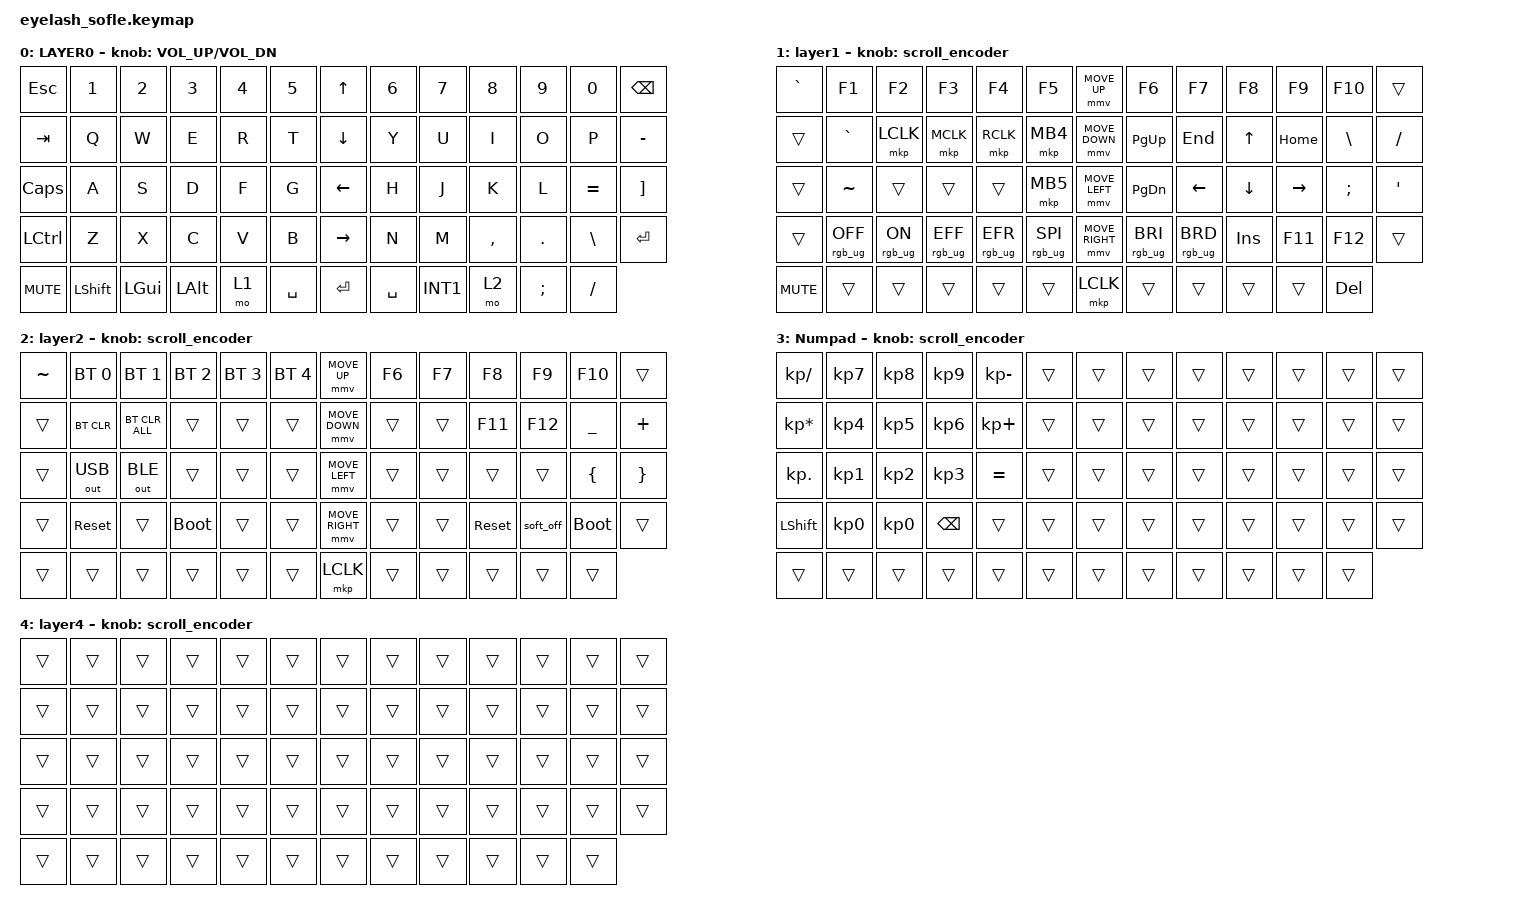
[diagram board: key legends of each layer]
#define ZMK_POINTING_DEFAULT_MOVE_VAL 1200  // 600
#define ZMK_POINTING_DEFAULT_SCRL_VAL 25   // 10

#include <input/processors.dtsi>
#include <zephyr/dt-bindings/input/input-event-codes.h>
#include <behaviors.dtsi>
#include <dt-bindings/zmk/bt.h>
#include <dt-bindings/zmk/keys.h>
#include <dt-bindings/zmk/outputs.h>
#include <dt-bindings/zmk/pointing.h>
#include <dt-bindings/zmk/rgb.h>

&mmv_input_listener { input-processors = <&zip_xy_scaler 2 1>; };

&msc_input_listener { input-processors = <&zip_scroll_scaler 2 1>; };

&msc {
    acceleration-exponent = <1>;      // 0
    time-to-max-speed-ms = <100>;       // 300
    delay-ms = <0>;                   // 0
};

&mmv {
    time-to-max-speed-ms = <500>;
    acceleration-exponent = <1>;
    trigger-period-ms = <16>;
};

&soft_off { hold-time-ms = <2000>; };

/ {
    scroll_encoder: scroll_encoder {
        compatible = "zmk,behavior-sensor-rotate";
        #sensor-binding-cells = <0>;
        bindings = <&msc SCRL_DOWN>, <&msc SCRL_UP>;

        tap-ms = <100>;
    };

    behaviors {
    };

    combos {
        compatible = "zmk,combos";

        softoff {
            bindings = <&soft_off>;
            key-positions = <14 28 40>;
        };
    };

    macros {
        SHIFT_MCLK: SHIFT_MCLK {
            compatible = "zmk,behavior-macro";
            #binding-cells = <0>;
            bindings =
                <&macro_press>,
                <&kp LEFT_SHIFT>,
                <&macro_press>,
                <&mkp MB3>,
                <&macro_pause_for_release>,
                <&macro_release>,
                <&kp LEFT_SHIFT &mkp MB3>;

            label = "SHIFT_MCLK";
        };
    };

    keymap {
        compatible = "zmk,keymap";

        layer0 {
            bindings = <
&kp ESC     &kp N1     &kp N2        &kp N3        &kp N4  &kp N5       &kp UP_ARROW     &kp N6     &kp N7     &kp N8     &kp N9           &kp N0      &kp BACKSPACE
&kp TAB     &kp Q      &kp W         &kp E         &kp R   &kp T        &kp DOWN_ARROW   &kp Y      &kp U      &kp I      &kp O            &kp P       &kp MINUS
&kp CAPS    &kp A      &kp S         &kp D         &kp F   &kp G        &kp LEFT_ARROW   &kp H      &kp J      &kp K      &kp L            &kp EQUAL   &kp RBKT
&kp LCTRL   &kp Z      &kp X         &kp C         &kp V   &kp B        &kp RIGHT_ARROW  &kp N      &kp M      &kp COMMA  &kp DOT          &kp BSLH    &kp ENTER
&kp C_MUTE  &kp LSHFT  &kp LEFT_GUI  &kp LEFT_ALT  &mo 1   &kp SPACE    &kp ENTER        &kp SPACE  &kp INT1   &mo 2      &kp SEMI         &kp FSLH
            >;

            sensor-bindings = <&inc_dec_kp C_VOLUME_UP C_VOL_DN>;
            display-name = "LAYER0";
        };

        layer_1 {
            bindings = <
&kp GRAVE   &kp F1           &kp F2          &kp F3           &kp F4           &kp F5             &mmv MOVE_UP     &kp F6           &kp F7           &kp F8      &kp F9     &kp F10           &trans
&trans      &kp GRAVE        &mkp LCLK       &mkp MCLK        &mkp RCLK        &mkp MB4           &mmv MOVE_DOWN   &kp PG_UP        &kp END          &kp UP      &kp HOME   &kp BSLH          &kp FSLH
&trans      &kp TILDE        &trans          &trans           &trans           &mkp MB5           &mmv MOVE_LEFT   &kp PG_DN        &kp LEFT         &kp DOWN    &kp RIGHT  &kp SEMI          &kp APOS
&trans      &rgb_ug RGB_OFF  &rgb_ug RGB_ON  &rgb_ug RGB_EFF  &rgb_ug RGB_EFR  &rgb_ug RGB_SPI    &mmv MOVE_RIGHT  &rgb_ug RGB_BRI  &rgb_ug RGB_BRD  &kp INSERT  &kp F11    &kp F12           &trans
&kp C_MUTE  &trans           &trans          &trans           &trans           &trans             &mkp LCLK        &trans           &trans           &trans      &trans     &kp DELETE
            >;

            display-name = "layer1";
            sensor-bindings = <&scroll_encoder>;
        };

        layer_2 {
            bindings = <
&kp TILDE  &bt BT_SEL 0  &bt BT_SEL 1    &bt BT_SEL 2  &bt BT_SEL 3  &bt BT_SEL 4    &mmv MOVE_UP     &kp F6  &kp F7  &kp F8      &kp F9     &kp F10      &trans
&trans     &bt BT_CLR    &bt BT_CLR_ALL  &trans        &trans        &trans          &mmv MOVE_DOWN   &trans  &trans  &kp F11     &kp F12    &kp UNDER    &kp PLUS
&trans     &out OUT_USB  &out OUT_BLE    &trans        &trans        &trans          &mmv MOVE_LEFT   &trans  &trans  &trans      &trans     &kp LBRC     &kp RBRC
&trans     &sys_reset    &trans          &bootloader   &trans        &trans          &mmv MOVE_RIGHT  &trans  &trans  &sys_reset  &soft_off  &bootloader  &trans
&trans     &trans        &trans          &trans        &trans        &trans          &mkp LCLK        &trans  &trans  &trans      &trans     &trans
            >;

            display-name = "layer2";
            sensor-bindings = <&scroll_encoder>;
        };

        layer_3 {
            bindings = <
&kp KP_DIVIDE      &kp KP_N7   &kp KP_N8   &kp KP_N9   &kp KP_MINUS  &trans    &trans  &trans  &trans  &trans  &trans  &trans  &trans
&kp KP_MULTIPLY    &kp KP_N4   &kp KP_N5   &kp KP_N6   &kp KP_PLUS   &trans    &trans  &trans  &trans  &trans  &trans  &trans  &trans
&kp KP_DOT         &kp KP_N1   &kp KP_N2   &kp KP_N3   &kp EQUAL     &trans    &trans  &trans  &trans  &trans  &trans  &trans  &trans
&kp LSHFT          &kp KP_N0   &kp KP_N0   &kp BKSP    &trans        &trans    &trans  &trans  &trans  &trans  &trans  &trans  &trans
&trans             &trans      &trans      &trans      &trans        &trans    &trans  &trans  &trans  &trans  &trans  &trans
            >;

            display-name = "Numpad";
            sensor-bindings = <&scroll_encoder>;
        };

        layer_4 {
            bindings = <
&trans  &trans  &trans  &trans  &trans  &trans    &trans  &trans  &trans  &trans  &trans  &trans  &trans
&trans  &trans  &trans  &trans  &trans  &trans    &trans  &trans  &trans  &trans  &trans  &trans  &trans
&trans  &trans  &trans  &trans  &trans  &trans    &trans  &trans  &trans  &trans  &trans  &trans  &trans
&trans  &trans  &trans  &trans  &trans  &trans    &trans  &trans  &trans  &trans  &trans  &trans  &trans
&trans  &trans  &trans  &trans  &trans  &trans    &trans  &trans  &trans  &trans  &trans  &trans
            >;

            display-name = "layer4";
            sensor-bindings = <&scroll_encoder>;
        };
    };
};
